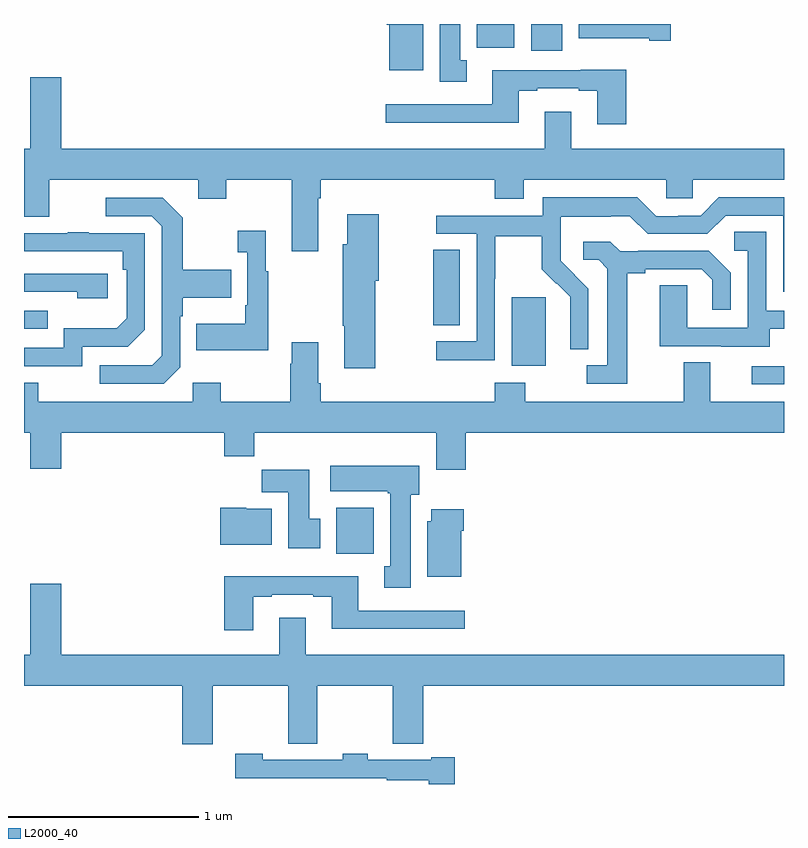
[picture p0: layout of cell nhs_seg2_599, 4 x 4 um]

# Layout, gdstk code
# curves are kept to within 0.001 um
import gdstk
lib = gdstk.Library(unit=1e-6, precision=1e-09)
def R(c, l, rs):  # rectangles x0, y0, x1, y1
    for r in rs: c.add(gdstk.rectangle(r[:2], r[2:], *l))
def P(c, l, *ps):  # polygons
    for p in ps: c.add(gdstk.Polygon(p, *l))
L2000_40 = (2000, 40)

nhs_seg2_599 = lib.new_cell('nhs_seg2_599')
R(nhs_seg2_599, L2000_40, [(142.643,635.012,142.84,635.254), (144.831,635.904,145,636), (143.567,636.002,143.746,636.363), (141,636.195,141.125,636.291), (143.155,636.214,143.293,636.611), (143.669,637.659,143.833,637.8), (143.384,637.676,143.581,637.8)])
P(nhs_seg2_599, L2000_40, [(143.101,637.8),(142.91,637.8),(142.91,637.796),(142.922,637.796),(142.922,637.556),(143.101,637.556)],
  [(143.329,637.61),(143.296,637.61),(143.296,637.8),(143.189,637.8),(143.189,637.497),(143.329,637.497)],
  [(144.403,637.8),(143.921,637.8),(143.921,637.724),(144.29,637.724),(144.29,637.712),(144.403,637.712)],
  [(144.17,637.558),(143.929,637.558),(143.929,637.557),(143.465,637.557),(143.465,637.377),(142.905,637.377),(142.905,637.28),(143.605,637.28),(143.605,637.449),(143.701,637.449),(143.701,637.461),(143.921,637.461),(143.921,637.449),(144.017,637.449),(144.017,637.272),(144.17,637.272)],
  [(141.196,637.519),(141.032,637.519),(141.032,637.144),(141,637.144),(141,636.786),(141.133,636.786),(141.133,636.98),(141.917,636.98),(141.917,636.881),(142.065,636.881),(142.065,636.98),(142.409,636.98),(142.409,636.603),(142.549,636.603),(142.549,636.884),(142.562,636.884),(142.562,636.98),(143.477,636.98),(143.477,636.881),(143.629,636.881),(143.629,636.98),(144.381,636.98),(144.381,636.882),(144.519,636.882),(144.519,636.98),(145,636.98),(145,637.144),(143.881,637.144),(143.881,637.339),(143.741,637.339),(143.741,637.144),(141.196,637.144)],
  [(143.478,636.46),(143.481,636.46),(143.481,636.684),(143.725,636.684),(143.725,636.509),(143.802,636.432),(143.805,636.435),(143.876,636.365),(143.876,636.242),(143.874,636.242),(143.874,636.088),(143.97,636.088),(143.97,636.406),(143.824,636.554),(143.824,636.651),(143.826,636.651),(143.826,636.785),(144.089,636.785),(144.089,636.789),(144.189,636.789),(144.282,636.696),(144.597,636.696),(144.693,636.792),(144.996,636.792),(144.996,636.39),(145,636.39),(145,636.888),(144.657,636.888),(144.561,636.792),(144.443,636.792),(144.443,636.789),(144.327,636.789),(144.227,636.889),(143.73,636.889),(143.73,636.792),(143.169,636.792),(143.169,636.696),(143.382,636.696),(143.382,636.129),(143.169,636.129),(143.169,636.031),(143.478,636.031)],
  [(141.822,635.994),(141.822,636.263),(141.835,636.263),(141.835,636.359),(142.091,636.359),(142.091,636.507),(141.835,636.507),(141.835,636.779),(141.729,636.885),(141.429,636.885),(141.429,636.789),(141.672,636.789),(141.726,636.735),(141.726,636.054),(141.675,636.003),(141.399,636.003),(141.399,635.907),(141.735,635.907)],
  [(142.848,636.45),(142.866,636.45),(142.866,636.799),(142.7,636.799),(142.7,636.642),(142.678,636.642),(142.678,636.211),(142.685,636.211),(142.685,635.988),(142.848,635.988)],
  [(142.285,636.499),(142.273,636.499),(142.273,636.712),(142.125,636.712),(142.125,636.599),(142.176,636.599),(142.176,636.319),(142.164,636.319),(142.164,636.223),(141.907,636.223),(141.907,636.083),(142.285,636.083)],
  [(144.925,636.195),(145,636.195),(145,636.291),(144.906,636.291),(144.906,636.707),(144.738,636.707),(144.738,636.606),(144.81,636.606),(144.81,636.201),(144.492,636.201),(144.492,636.425),(144.347,636.425),(144.347,636.105),(144.671,636.105),(144.671,636.101),(144.925,636.101)],
  [(141.306,636.102),(141.546,636.102),(141.636,636.192),(141.636,636.699),(141.341,636.699),(141.341,636.704),(141.229,636.704),(141.229,636.699),(141,636.699),(141,636.603),(141.52,636.603),(141.52,636.506),(141.54,636.506),(141.54,636.252),(141.487,636.199),(141.21,636.199),(141.21,636.096),(141,636.096),(141,636),(141.306,636)],
  [(144.175,636.488),(144.271,636.488),(144.271,636.51),(144.566,636.51),(144.623,636.453),(144.623,636.297),(144.72,636.297),(144.72,636.49),(144.604,636.606),(144.232,636.606),(144.232,636.603),(144.138,636.603),(144.086,636.655),(143.943,636.655),(143.943,636.558),(144.024,636.558),(144.071,636.511),(144.071,636.003),(143.961,636.003),(143.961,635.907),(144.175,635.907)],
  [(141.442,636.486),(141,636.486),(141,636.39),(141.281,636.39),(141.281,636.356),(141.442,636.356)],
  [(143.324,635.648),(145,635.648),(145,635.812),(144.613,635.812),(144.613,636.02),(144.473,636.02),(144.473,635.812),(143.637,635.812),(143.637,635.911),(143.477,635.911),(143.477,635.812),(142.562,635.812),(142.562,635.908),(142.549,635.908),(142.549,636.124),(142.409,636.124),(142.409,636.011),(142.402,636.011),(142.402,635.812),(142.035,635.812),(142.035,635.911),(141.888,635.911),(141.888,635.812),(141.075,635.812),(141.075,635.911),(141,635.911),(141,635.648),(141.032,635.648),(141.032,635.46),(141.196,635.46),(141.196,635.648),(142.055,635.648),(142.055,635.524),(142.211,635.524),(142.211,635.648),(143.171,635.648),(143.171,635.454),(143.324,635.454)],
  [(143.035,635.322),(143.08,635.322),(143.08,635.476),(142.611,635.476),(142.611,635.342),(142.915,635.342),(142.915,635.329),(142.928,635.329),(142.928,634.946),(142.895,634.946),(142.895,634.833),(143.035,634.833)],
  [(142.558,635.196),(142.501,635.196),(142.501,635.455),(142.252,635.455),(142.252,635.336),(142.391,635.336),(142.391,635.04),(142.558,635.04)],
  [(142.303,635.248),(142.17,635.248),(142.17,635.254),(142.034,635.254),(142.034,635.06),(142.303,635.06)],
  [(143.302,635.132),(143.315,635.132),(143.315,635.245),(143.144,635.245),(143.144,635.184),(143.123,635.184),(143.123,634.892),(143.302,634.892)],
  [(142.207,634.785),(142.303,634.785),(142.303,634.797),(142.523,634.797),(142.523,634.785),(142.619,634.785),(142.619,634.616),(143.32,634.616),(143.32,634.713),(142.759,634.713),(142.759,634.894),(142.055,634.894),(142.055,634.608),(142.207,634.608)],
  [(141.993,634.316),(142.39,634.316),(142.39,634.012),(142.544,634.012),(142.544,634.316),(142.942,634.316),(142.942,634.012),(143.102,634.012),(143.102,634.316),(145,634.316),(145,634.48),(142.483,634.48),(142.483,634.675),(142.343,634.675),(142.343,634.48),(141.196,634.48),(141.196,634.855),(141.032,634.855),(141.032,634.48),(141,634.48),(141,634.316),(141.833,634.316),(141.833,634.008),(141.993,634.008)],
  [(143.267,633.94),(143.144,633.94),(143.144,633.927),(142.809,633.927),(142.809,633.96),(142.677,633.96),(142.677,633.927),(142.257,633.927),(142.257,633.96),(142.113,633.96),(142.113,633.831),(142.909,633.831),(142.909,633.819),(143.131,633.819),(143.131,633.8),(143.267,633.8)])

lib.write_gds('nhs_seg2_599.gds')
